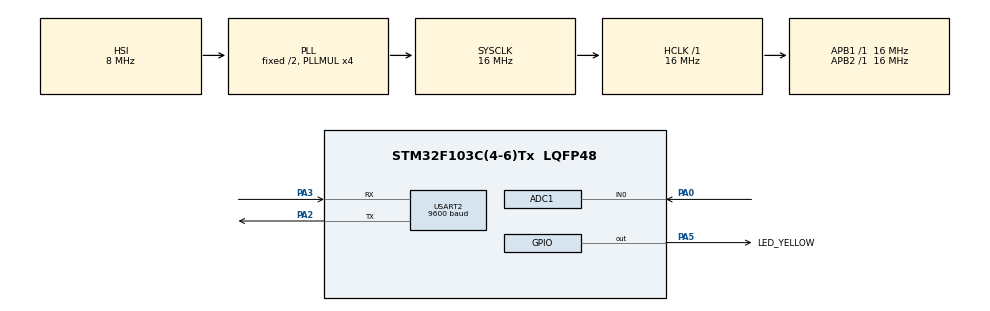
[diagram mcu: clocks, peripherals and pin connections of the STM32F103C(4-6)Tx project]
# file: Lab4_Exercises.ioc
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ADC1.Channel-0\#ChannelRegularConversion=ADC_CHANNEL_0
ADC1.ContinuousConvMode=ENABLE
ADC1.NbrOfConversionFlag=1
ADC1.Rank-0\#ChannelRegularConversion=1
ADC1.SamplingTime-0\#ChannelRegularConversion=ADC_SAMPLETIME_1CYCLE_5
ADC1.master=1
Mcu.Family=STM32F1
Mcu.Name=STM32F103C(4-6)Tx
Mcu.Package=LQFP48
NVIC.PriorityGroup=NVIC_PRIORITYGROUP_4
NVIC.TIM2_IRQn=true\:0\:0\:false\:false\:true\:true\:true
NVIC.USART2_IRQn=true\:0\:0\:false\:false\:true\:true\:true
PA0-WKUP.Signal=ADCx_IN0
PA2.Mode=Asynchronous
PA2.Signal=USART2_TX
PA3.Mode=Asynchronous
PA3.Signal=USART2_RX
PA5.GPIO_Label=LED_YELLOW
PA5.Signal=GPIO_Output
ProjectManager.HeapSize=0x200
ProjectManager.StackSize=0x400
ProjectManager.TargetToolchain=STM32CubeIDE
RCC.AHBFreq_Value=16000000
RCC.APB1Freq_Value=16000000
RCC.APB1TimFreq_Value=16000000
RCC.APB2Freq_Value=16000000
RCC.APB2TimFreq_Value=16000000
RCC.HCLKFreq_Value=16000000
RCC.PLLMUL=RCC_PLL_MUL4
RCC.SYSCLKFreq_VALUE=16000000
RCC.SYSCLKSource=RCC_SYSCLKSOURCE_PLLCLK
RCC.USBFreq_Value=16000000
SH.ADCx_IN0.0=ADC1_IN0,IN0
TIM2.Period=9
TIM2.Prescaler=15999
USART2.BaudRate=9600
USART2.VirtualMode=VM_ASYNC
VP_SYS_VS_ND.Mode=No_Debug
VP_TIM2_VS_ClockSourceINT.Mode=Internal
board=custom

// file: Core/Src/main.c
/* USER CODE BEGIN Header */
/**
  ******************************************************************************
  * @file           : main.c
  * @brief          : Main program body
  ******************************************************************************
  * @attention
  *
  * <h2><center>&copy; Copyright (c) 2023 STMicroelectronics.
  * All rights reserved.</center></h2>
  *
  * This software component is licensed by ST under BSD 3-Clause license,
  * the "License"; You may not use this file except in compliance with the
  * License. You may obtain a copy of the License at:
  *                        opensource.org/licenses/BSD-3-Clause
  *
  ******************************************************************************
  */
/* USER CODE END Header */
#include "main.h"

/* USER CODE BEGIN Includes */
#include "global.h"
#include "command_parser.h"
#include "uart_fsm.h"
#include "stdio.h"
/* USER CODE END Includes */

ADC_HandleTypeDef hadc1;

TIM_HandleTypeDef htim2;

UART_HandleTypeDef huart2;

void SystemClock_Config(void);
static void MX_GPIO_Init(void);
static void MX_ADC1_Init(void);
static void MX_USART2_UART_Init(void);
static void MX_TIM2_Init(void);

/* USER CODE BEGIN 0 */

void HAL_UART_RxCpltCallback(UART_HandleTypeDef * huart) {
	if(huart -> Instance == USART2 ){
		 buffer[index_buffer++] = temp;
		 if(index_buffer == 30) index_buffer = 0;

		 buffer_flag = 1;
		 HAL_UART_Transmit(&huart2, &temp, 1, 1000);
		 HAL_UART_Receive_IT (&huart2 , &temp , 1);
	 }
}
/* USER CODE END 0 */

int main(void)
{

  /* MCU Configuration--------------------------------------------------------*/

  /* Reset of all peripherals, Initializes the Flash interface and the Systick. */
  HAL_Init();

  /* Configure the system clock */
  SystemClock_Config();

  /* Initialize all configured peripherals */
  MX_GPIO_Init();
  MX_ADC1_Init();
  MX_USART2_UART_Init();
  MX_TIM2_Init();
  /* USER CODE BEGIN 2 */
  HAL_TIM_Base_Start_IT(&htim2);
  /* USER CODE END 2 */

  /* Infinite loop */
  /* USER CODE BEGIN WHILE */
  HAL_ADC_Start(&hadc1);
  HAL_UART_Receive_IT(&huart2, &temp, 1);
  setTimer1(50);
  parser_status = START_PARSER;
  uart_status = WAIT_COMMAND;
  while (1)
  {
	  if(timer1_flag == 1) {
		  setTimer1(50);
		  HAL_GPIO_TogglePin(LED_YELLOW_GPIO_Port, LED_YELLOW_Pin);
		  if(buffer_flag==1){
			   command_parser_fsm();
			   buffer_flag=0;
		  }

		  uart_communication_fsm();

    /* USER CODE END WHILE */
	  }
  }
}

void SystemClock_Config(void)
{
  RCC_OscInitTypeDef RCC_OscInitStruct = {0};
  RCC_ClkInitTypeDef RCC_ClkInitStruct = {0};
  RCC_PeriphCLKInitTypeDef PeriphClkInit = {0};

  /** Initializes the RCC Oscillators according to the specified parameters
  * in the RCC_OscInitTypeDef structure.
  */
  RCC_OscInitStruct.OscillatorType = RCC_OSCILLATORTYPE_HSI;
  RCC_OscInitStruct.HSIState = RCC_HSI_ON;
  RCC_OscInitStruct.HSICalibrationValue = RCC_HSICALIBRATION_DEFAULT;
  RCC_OscInitStruct.PLL.PLLState = RCC_PLL_ON;
  RCC_OscInitStruct.PLL.PLLSource = RCC_PLLSOURCE_HSI_DIV2;
  RCC_OscInitStruct.PLL.PLLMUL = RCC_PLL_MUL4;
  if (HAL_RCC_OscConfig(&RCC_OscInitStruct) != HAL_OK)
  {
    Error_Handler();
  }
  /** Initializes the CPU, AHB and APB buses clocks
  */
  RCC_ClkInitStruct.ClockType = RCC_CLOCKTYPE_HCLK|RCC_CLOCKTYPE_SYSCLK
                              |RCC_CLOCKTYPE_PCLK1|RCC_CLOCKTYPE_PCLK2;
  RCC_ClkInitStruct.SYSCLKSource = RCC_SYSCLKSOURCE_PLLCLK;
  RCC_ClkInitStruct.AHBCLKDivider = RCC_SYSCLK_DIV1;
  RCC_ClkInitStruct.APB1CLKDivider = RCC_HCLK_DIV1;
  RCC_ClkInitStruct.APB2CLKDivider = RCC_HCLK_DIV1;

  if (HAL_RCC_ClockConfig(&RCC_ClkInitStruct, FLASH_LATENCY_0) != HAL_OK)
  {
    Error_Handler();
  }
  PeriphClkInit.PeriphClockSelection = RCC_PERIPHCLK_ADC;
  PeriphClkInit.AdcClockSelection = RCC_ADCPCLK2_DIV2;
  if (HAL_RCCEx_PeriphCLKConfig(&PeriphClkInit) != HAL_OK)
  {
    Error_Handler();
  }
}

static void MX_ADC1_Init(void)
{

  ADC_ChannelConfTypeDef sConfig = {0};

  /** Common config
  */
  hadc1.Instance = ADC1;
  hadc1.Init.ScanConvMode = ADC_SCAN_DISABLE;
  hadc1.Init.ContinuousConvMode = ENABLE;
  hadc1.Init.DiscontinuousConvMode = DISABLE;
  hadc1.Init.ExternalTrigConv = ADC_SOFTWARE_START;
  hadc1.Init.DataAlign = ADC_DATAALIGN_RIGHT;
  hadc1.Init.NbrOfConversion = 1;
  if (HAL_ADC_Init(&hadc1) != HAL_OK)
  {
    Error_Handler();
  }
  /** Configure Regular Channel
  */
  sConfig.Channel = ADC_CHANNEL_0;
  sConfig.Rank = ADC_REGULAR_RANK_1;
  sConfig.SamplingTime = ADC_SAMPLETIME_1CYCLE_5;
  if (HAL_ADC_ConfigChannel(&hadc1, &sConfig) != HAL_OK)
  {
    Error_Handler();
  }

}

static void MX_TIM2_Init(void)
{

  TIM_ClockConfigTypeDef sClockSourceConfig = {0};
  TIM_MasterConfigTypeDef sMasterConfig = {0};

  htim2.Instance = TIM2;
  htim2.Init.Prescaler = 15999;
  htim2.Init.CounterMode = TIM_COUNTERMODE_UP;
  htim2.Init.Period = 9;
  htim2.Init.ClockDivision = TIM_CLOCKDIVISION_DIV1;
  htim2.Init.AutoReloadPreload = TIM_AUTORELOAD_PRELOAD_DISABLE;
  if (HAL_TIM_Base_Init(&htim2) != HAL_OK)
  {
    Error_Handler();
  }
  sClockSourceConfig.ClockSource = TIM_CLOCKSOURCE_INTERNAL;
  if (HAL_TIM_ConfigClockSource(&htim2, &sClockSourceConfig) != HAL_OK)
  {
    Error_Handler();
  }
  sMasterConfig.MasterOutputTrigger = TIM_TRGO_RESET;
  sMasterConfig.MasterSlaveMode = TIM_MASTERSLAVEMODE_DISABLE;
  if (HAL_TIMEx_MasterConfigSynchronization(&htim2, &sMasterConfig) != HAL_OK)
  {
    Error_Handler();
  }

}

static void MX_USART2_UART_Init(void)
{

  huart2.Instance = USART2;
  huart2.Init.BaudRate = 9600;
  huart2.Init.WordLength = UART_WORDLENGTH_8B;
  huart2.Init.StopBits = UART_STOPBITS_1;
  huart2.Init.Parity = UART_PARITY_NONE;
  huart2.Init.Mode = UART_MODE_TX_RX;
  huart2.Init.HwFlowCtl = UART_HWCONTROL_NONE;
  huart2.Init.OverSampling = UART_OVERSAMPLING_16;
  if (HAL_UART_Init(&huart2) != HAL_OK)
  {
    Error_Handler();
  }

}

static void MX_GPIO_Init(void)
{
  GPIO_InitTypeDef GPIO_InitStruct = {0};

  /* GPIO Ports Clock Enable */
  __HAL_RCC_GPIOA_CLK_ENABLE();

  /*Configure GPIO pin Output Level */
  HAL_GPIO_WritePin(LED_YELLOW_GPIO_Port, LED_YELLOW_Pin, GPIO_PIN_RESET);

  /*Configure GPIO pin : LED_YELLOW_Pin */
  GPIO_InitStruct.Pin = LED_YELLOW_Pin;
  GPIO_InitStruct.Mode = GPIO_MODE_OUTPUT_PP;
  GPIO_InitStruct.Pull = GPIO_NOPULL;
  GPIO_InitStruct.Speed = GPIO_SPEED_FREQ_LOW;
  HAL_GPIO_Init(LED_YELLOW_GPIO_Port, &GPIO_InitStruct);

}

/* USER CODE BEGIN 4 */
void HAL_TIM_PeriodElapsedCallback(TIM_HandleTypeDef *htim) {
	timerRun();
}
/* USER CODE END 4 */

void Error_Handler(void)
{
  __disable_irq();
  while (1)
  {
  }
}

/************************ (C) COPYRIGHT STMicroelectronics *****END OF FILE****/
